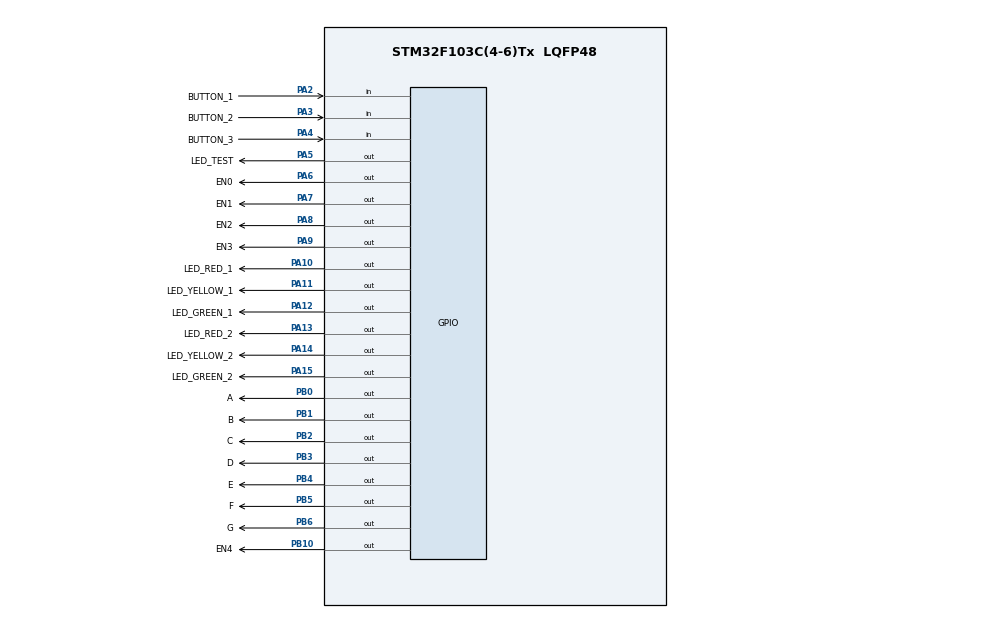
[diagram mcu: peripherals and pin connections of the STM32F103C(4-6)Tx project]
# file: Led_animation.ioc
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Mcu.Family=STM32F1
Mcu.Name=STM32F103C(4-6)Tx
Mcu.Package=LQFP48
NVIC.PriorityGroup=NVIC_PRIORITYGROUP_4
NVIC.TIM2_IRQn=true\:0\:0\:false\:false\:true\:true\:true
PA10.GPIO_Label=LED_RED_1
PA10.Signal=GPIO_Output
PA11.GPIO_Label=LED_YELLOW_1
PA11.Signal=GPIO_Output
PA12.GPIO_Label=LED_GREEN_1
PA12.Signal=GPIO_Output
PA13.GPIO_Label=LED_RED_2
PA13.Signal=GPIO_Output
PA14.GPIO_Label=LED_YELLOW_2
PA14.Signal=GPIO_Output
PA15.GPIO_Label=LED_GREEN_2
PA15.Signal=GPIO_Output
PA2.GPIO_Label=BUTTON_1
PA2.GPIO_PuPd=GPIO_PULLUP
PA2.Signal=GPIO_Input
PA3.GPIO_Label=BUTTON_2
PA3.GPIO_PuPd=GPIO_PULLUP
PA3.Signal=GPIO_Input
PA4.GPIO_Label=BUTTON_3
PA4.GPIO_PuPd=GPIO_PULLUP
PA4.Signal=GPIO_Input
PA5.GPIO_Label=LED_TEST
PA5.Signal=GPIO_Output
PA6.GPIO_Label=EN0
PA6.Signal=GPIO_Output
PA7.GPIO_Label=EN1
PA7.Signal=GPIO_Output
PA8.GPIO_Label=EN2
PA8.Signal=GPIO_Output
PA9.GPIO_Label=EN3
PA9.Signal=GPIO_Output
PB0.GPIO_Label=A
PB0.Signal=GPIO_Output
PB1.GPIO_Label=B
PB1.Signal=GPIO_Output
PB10.GPIO_Label=EN4
PB10.Signal=GPIO_Output
PB2.GPIO_Label=C
PB2.Signal=GPIO_Output
PB3.GPIO_Label=D
PB3.Signal=GPIO_Output
PB4.GPIO_Label=E
PB4.Signal=GPIO_Output
PB5.GPIO_Label=F
PB5.Signal=GPIO_Output
PB6.GPIO_Label=G
PB6.Signal=GPIO_Output
ProjectManager.HeapSize=0x200
ProjectManager.StackSize=0x400
ProjectManager.TargetToolchain=STM32CubeIDE
RCC.APB1Freq_Value=8000000
RCC.APB2Freq_Value=8000000
TIM2.Period=9
TIM2.Prescaler=7999
VP_SYS_VS_ND.Mode=No_Debug
VP_TIM2_VS_ClockSourceINT.Mode=Internal
board=custom

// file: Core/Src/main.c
/* USER CODE BEGIN Header */
/**
  ******************************************************************************
  * @file           : main.c
  * @brief          : Main program body
  ******************************************************************************
  * @attention
  *
  * <h2><center>&copy; Copyright (c) 2023 STMicroelectronics.
  * All rights reserved.</center></h2>
  *
  * This software component is licensed by ST under BSD 3-Clause license,
  * the "License"; You may not use this file except in compliance with the
  * License. You may obtain a copy of the License at:
  *                        opensource.org/licenses/BSD-3-Clause
  *
  ******************************************************************************
  */
/* USER CODE END Header */
#include "main.h"

/* USER CODE BEGIN Includes */
#include "display7seg.h"
#include "led_traffic.h"
#include "button.h"
#include "timer.h"
#include "Nomal_mode.h"
#include "device_singleLED.h"
#include "device_7SEG.h"
#include <string.h>
/* USER CODE END Includes */

/* USER CODE BEGIN PTD */
#define INITMODE 0
#define MODE1 1
#define MODE2 2
#define MODE3 3
#define MODE4 4
/* USER CODE END PTD */

/* USER CODE BEGIN PM */
int modeStatus = MODE1;
int flagAdvancedMode = 0;
/* USER CODE END PM */

TIM_HandleTypeDef htim2;

void SystemClock_Config(void);
static void MX_GPIO_Init(void);
static void MX_TIM2_Init(void);

int main(void)
{

  /* MCU Configuration--------------------------------------------------------*/

  /* Reset of all peripherals, Initializes the Flash interface and the Systick. */
  HAL_Init();

  /* Configure the system clock */
  SystemClock_Config();

  /* Initialize all configured peripherals */
  MX_GPIO_Init();
  MX_TIM2_Init();
  /* USER CODE BEGIN 2 */
  HAL_TIM_Base_Start_IT(&htim2);

  /* USER CODE END 2 */
  /* USER CODE BEGIN WHILE */
  	offAllSingLEDs();
  	normalModeFunction();
  	setTimer2(100);
  	DISPLAYALL7SEG();
  	setTimer4(20);
  	setTimer1(1);
  	while (1)
  	{
  		if (flag1 == 1) // flag for button
  		{
  			setTimer1(1);
  			getInput();
  			if (flagButton[0] == PRESSED_STATE)
  			{
  				flagButton[0] = NORMAL_STATE;
  				switch (modeStatus)
  				{
  				case INITMODE:
  					modeStatus = MODE1;
  					flagAdvancedMode = 0;
  					tempDurationLedGreen = durationLedGreen;
  					tempDurationLedRed = durationLedRed;
  					tempDurationLedYellow = durationLedYellow;
  					offAllSingLEDs();
  					update7SEGBufferMode(MODE1);
  					normalModeFunction();
  					setTimer2(100);
  					DISPLAYALL7SEG();
  					setTimer4(20);
  					break;
  				case MODE1:
  					modeStatus = MODE2;
  					flagAdvancedMode = 1;
  					offAllSingLEDs();
  					blinkingRED();
  					setTimer3(50);
  					update7SEGBufferTraffic1(durationLedRed);
  					update7SEGBufferTraffic2(durationLedRed);
  					update7SEGBufferMode(MODE2);
  					break;
  				case MODE2:
  					modeStatus = MODE3;
  					flagAdvancedMode = 1;
  					offAllSingLEDs();
  					blinkingYELLOW();
  					setTimer3(50);
  					update7SEGBufferTraffic1(durationLedYellow);
  					update7SEGBufferTraffic2(durationLedYellow);
  					update7SEGBufferMode(MODE3);
  					break;
  				case MODE3:
  					modeStatus = MODE4;
  					flagAdvancedMode = 1;
  					offAllSingLEDs();
  					blinkingGREEN();
  					setTimer3(50);
  					update7SEGBufferTraffic1(durationLedGreen);
  					update7SEGBufferTraffic2(durationLedGreen);
  					update7SEGBufferMode(MODE4);
  					break;
  				case MODE4:
  					modeStatus = MODE1;
  					flagAdvancedMode = 0;
  					tempDurationLedGreen = durationLedGreen;
  					tempDurationLedRed = durationLedRed;
  					tempDurationLedYellow = durationLedYellow;
  					offAllSingLEDs();
  					update7SEGBufferMode(MODE1);
  					normalModeFunction();
  					setTimer2(100);
  					break;
  				default:
  					break;
  				}
  			}
  			if (flagButton[1] == PRESSED_STATE)
  			{
  				flagButton[1] = NORMAL_STATE;
  				switch (modeStatus)
  				{
  				case MODE2:
  					tempDurationLedRed++;
  					if (tempDurationLedRed > 99)
  					{
  						tempDurationLedRed = 0;
  					}
  					update7SEGBufferTraffic1(tempDurationLedRed);
  					update7SEGBufferTraffic2(tempDurationLedRed);
  					break;
  				case MODE3:
  					tempDurationLedYellow++;
  					if (tempDurationLedYellow > 99)
  					{
  						tempDurationLedYellow = 0;
  					}
  					update7SEGBufferTraffic1(tempDurationLedYellow);
  					update7SEGBufferTraffic2(tempDurationLedYellow);
  					break;
  				case MODE4:
  					tempDurationLedGreen++;
  					if (tempDurationLedGreen > 99)
  					{
  						tempDurationLedGreen = 0;
  					}
  					update7SEGBufferTraffic1(tempDurationLedGreen);
  					update7SEGBufferTraffic2(tempDurationLedGreen);
  					break;
  				default:
  					break;
  				}
  			}
  			if (flagButton[2] == PRESSED_STATE)
  			{
  				flagButton[2] = NORMAL_STATE;
  				if (tempDurationLedRed != tempDurationLedYellow + tempDurationLedGreen)
  				{
  					switch (modeStatus)
  					{
  					case MODE4:
  						update7SEGBufferTraffic1(88);
  						update7SEGBufferTraffic2(88);
  						update7SEGBufferMode(8);
  						onAllSingLEDs();
  						modeStatus = INITMODE;
  						break;
  					default:
  						break;
  					}
  				}
  				else
  				{
  					durationLedGreen = tempDurationLedGreen;
  					durationLedRed = tempDurationLedRed;
  					durationLedYellow = tempDurationLedYellow;
  					statusTraffic1 = INIT1;
  					statusTraffic2 = INIT2;
  					if (modeStatus == 1 || modeStatus == 0)
  					{
  						normalModeFunction();
  						setTimer2(1000);
  					}
  				}
  			}
  		}
  		if (flag2 == 1) // flag normal led
  		{
  			setTimer2(100);
  			if (flagAdvancedMode == 0)
  			{
  				normalModeFunction();
  			}
  		}
  		if (flag3 == 1) // flag for model modify
  		{
  			setTimer3(50);
  			if (flagAdvancedMode == 1)
  			{
  				switch (modeStatus)
  				{
  				case MODE2:
  					blinkingRED();
  					break;
  				case MODE3:
  					blinkingYELLOW();
  					break;
  				case MODE4:
  					blinkingGREEN();
  					break;
  				default:
  					break;
  				}
  			}
  		}
  		if (flag4 == 1)
  		{
  			DISPLAYALL7SEG();
  			setTimer4(20);
  		}

  	}
  /* USER CODE END 3 */
}

void SystemClock_Config(void)
{
  RCC_OscInitTypeDef RCC_OscInitStruct = {0};
  RCC_ClkInitTypeDef RCC_ClkInitStruct = {0};

  /** Initializes the RCC Oscillators according to the specified parameters
  * in the RCC_OscInitTypeDef structure.
  */
  RCC_OscInitStruct.OscillatorType = RCC_OSCILLATORTYPE_HSI;
  RCC_OscInitStruct.HSIState = RCC_HSI_ON;
  RCC_OscInitStruct.HSICalibrationValue = RCC_HSICALIBRATION_DEFAULT;
  RCC_OscInitStruct.PLL.PLLState = RCC_PLL_NONE;
  if (HAL_RCC_OscConfig(&RCC_OscInitStruct) != HAL_OK)
  {
    Error_Handler();
  }
  /** Initializes the CPU, AHB and APB buses clocks
  */
  RCC_ClkInitStruct.ClockType = RCC_CLOCKTYPE_HCLK|RCC_CLOCKTYPE_SYSCLK
                              |RCC_CLOCKTYPE_PCLK1|RCC_CLOCKTYPE_PCLK2;
  RCC_ClkInitStruct.SYSCLKSource = RCC_SYSCLKSOURCE_HSI;
  RCC_ClkInitStruct.AHBCLKDivider = RCC_SYSCLK_DIV1;
  RCC_ClkInitStruct.APB1CLKDivider = RCC_HCLK_DIV1;
  RCC_ClkInitStruct.APB2CLKDivider = RCC_HCLK_DIV1;

  if (HAL_RCC_ClockConfig(&RCC_ClkInitStruct, FLASH_LATENCY_0) != HAL_OK)
  {
    Error_Handler();
  }
}

static void MX_TIM2_Init(void)
{

  TIM_ClockConfigTypeDef sClockSourceConfig = {0};
  TIM_MasterConfigTypeDef sMasterConfig = {0};

  htim2.Instance = TIM2;
  htim2.Init.Prescaler = 7999;
  htim2.Init.CounterMode = TIM_COUNTERMODE_UP;
  htim2.Init.Period = 9;
  htim2.Init.ClockDivision = TIM_CLOCKDIVISION_DIV1;
  htim2.Init.AutoReloadPreload = TIM_AUTORELOAD_PRELOAD_DISABLE;
  if (HAL_TIM_Base_Init(&htim2) != HAL_OK)
  {
    Error_Handler();
  }
  sClockSourceConfig.ClockSource = TIM_CLOCKSOURCE_INTERNAL;
  if (HAL_TIM_ConfigClockSource(&htim2, &sClockSourceConfig) != HAL_OK)
  {
    Error_Handler();
  }
  sMasterConfig.MasterOutputTrigger = TIM_TRGO_RESET;
  sMasterConfig.MasterSlaveMode = TIM_MASTERSLAVEMODE_DISABLE;
  if (HAL_TIMEx_MasterConfigSynchronization(&htim2, &sMasterConfig) != HAL_OK)
  {
    Error_Handler();
  }

}

static void MX_GPIO_Init(void)
{
  GPIO_InitTypeDef GPIO_InitStruct = {0};

  /* GPIO Ports Clock Enable */
  __HAL_RCC_GPIOA_CLK_ENABLE();
  __HAL_RCC_GPIOB_CLK_ENABLE();

  /*Configure GPIO pin Output Level */
  HAL_GPIO_WritePin(GPIOA, LED_TEST_Pin|EN0_Pin|EN1_Pin|EN2_Pin
                          |EN3_Pin|LED_RED_1_Pin|LED_YELLOW_1_Pin|LED_GREEN_1_Pin
                          |LED_RED_2_Pin|LED_YELLOW_2_Pin|LED_GREEN_2_Pin, GPIO_PIN_RESET);

  /*Configure GPIO pin Output Level */
  HAL_GPIO_WritePin(GPIOB, A_Pin|B_Pin|C_Pin|EN4_Pin
                          |D_Pin|E_Pin|F_Pin|G_Pin, GPIO_PIN_RESET);

  /*Configure GPIO pins : BUTTON_1_Pin BUTTON_2_Pin BUTTON_3_Pin */
  GPIO_InitStruct.Pin = BUTTON_1_Pin|BUTTON_2_Pin|BUTTON_3_Pin;
  GPIO_InitStruct.Mode = GPIO_MODE_INPUT;
  GPIO_InitStruct.Pull = GPIO_PULLUP;
  HAL_GPIO_Init(GPIOA, &GPIO_InitStruct);

  /*Configure GPIO pins : LED_TEST_Pin EN0_Pin EN1_Pin EN2_Pin
                           EN3_Pin LED_RED_1_Pin LED_YELLOW_1_Pin LED_GREEN_1_Pin
                           LED_RED_2_Pin LED_YELLOW_2_Pin LED_GREEN_2_Pin */
  GPIO_InitStruct.Pin = LED_TEST_Pin|EN0_Pin|EN1_Pin|EN2_Pin
                          |EN3_Pin|LED_RED_1_Pin|LED_YELLOW_1_Pin|LED_GREEN_1_Pin
                          |LED_RED_2_Pin|LED_YELLOW_2_Pin|LED_GREEN_2_Pin;
  GPIO_InitStruct.Mode = GPIO_MODE_OUTPUT_PP;
  GPIO_InitStruct.Pull = GPIO_NOPULL;
  GPIO_InitStruct.Speed = GPIO_SPEED_FREQ_LOW;
  HAL_GPIO_Init(GPIOA, &GPIO_InitStruct);

  /*Configure GPIO pins : A_Pin B_Pin C_Pin EN4_Pin
                           D_Pin E_Pin F_Pin G_Pin */
  GPIO_InitStruct.Pin = A_Pin|B_Pin|C_Pin|EN4_Pin
                          |D_Pin|E_Pin|F_Pin|G_Pin;
  GPIO_InitStruct.Mode = GPIO_MODE_OUTPUT_PP;
  GPIO_InitStruct.Pull = GPIO_NOPULL;
  GPIO_InitStruct.Speed = GPIO_SPEED_FREQ_LOW;
  HAL_GPIO_Init(GPIOB, &GPIO_InitStruct);

}

/* USER CODE BEGIN 4 */
void HAL_TIM_PeriodElapsedCallback(TIM_HandleTypeDef *htim) {
	runTimer();

}
/* USER CODE END 4 */

void Error_Handler(void)
{
  __disable_irq();
  while (1)
  {
  }
}

/************************ (C) COPYRIGHT STMicroelectronics *****END OF FILE****/
